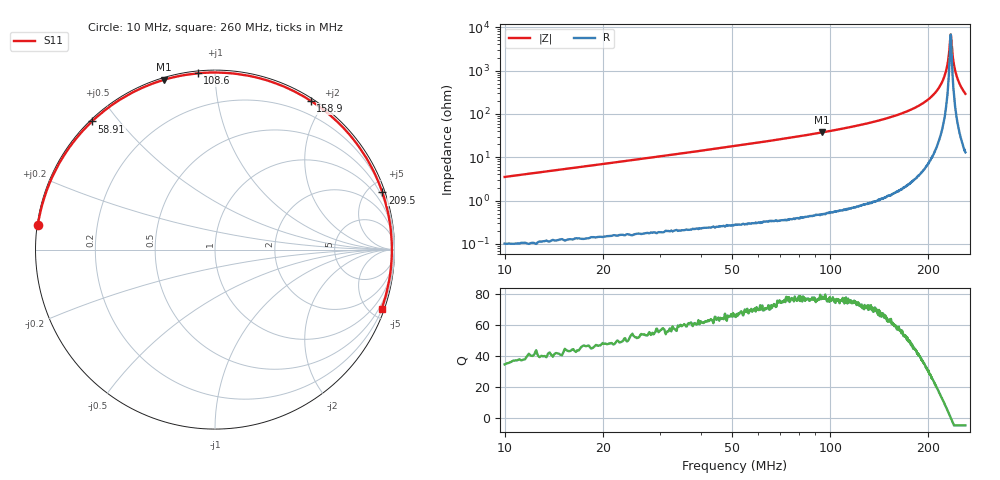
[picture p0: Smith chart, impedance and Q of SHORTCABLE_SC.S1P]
!Agilent Technologies,E5071C,MY46214392,A.11.36
!Date: Tue Jun 16 09:51:32 2026
!Data & Calibration Information:
!Freq	S11:SOLT1(ON)
!PortZ  Port1:50+j0
!Above PortZ is port z conversion or system Z0 setting when saving the data.
!When reading, reference impedance value at option line is always used.
# Hz S RI R 50
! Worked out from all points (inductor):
!   1601 points, 10 MHz to 260 MHz, reference 50 ohm
!   read as one part to ground: L = 55.2 nH near 11.25 MHz
!   highest Q = 77.9 at 94.06 MHz (marker M1), where L = 63 nH
!   self-resonance near 234.4 MHz
!   S11 on the Smith chart (normalised r, x): 10 MHz: 0.00, +0.07; 58.91 MHz: 0.01, +0.43; 108.6 MHz: 0.01, +0.91; 158.9 MHz: 0.03, +1.83; 209.5 MHz: 0.27, +6.02; 260 MHz: 0.26, -5.81
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1e7  -0.9862 0.1391
1.734375e7  -0.9662 0.2371
2.546875e7  -0.9326 0.3421
3.34375e7  -0.889 0.4407
4.125e7  -0.8365 0.5321
4.96875e7  -0.7699 0.6234
5.890625e7  -0.6853 0.7139
7.25e7  -0.543 0.8267
8.359375e7  -0.4139 0.8972
9.40625e7  -0.2835 0.9462
1.0375e8  -0.1591 0.9739
1.085938e8  -0.0959 0.9823
1.217188e8  0.0774 0.9837
1.35e8  0.2491 0.9545
1.46875e8  0.3954 0.9032
1.589062e8  0.5341 0.8288
1.6625e8  0.612 0.7731
1.745312e8  0.6927 0.7013
1.825e8  0.7627 0.6246
1.898438e8  0.8195 0.5478
1.975e8  0.8705 0.4618
2.095312e8  0.9327 0.3182
2.19375e8  0.9658 0.1944
2.2875e8  0.9827 0.0736
2.367188e8  0.9852 -0.0304
2.44375e8  0.9769 -0.1302
2.515625e8  0.9601 -0.2226
2.6e8  0.9288 -0.3286
